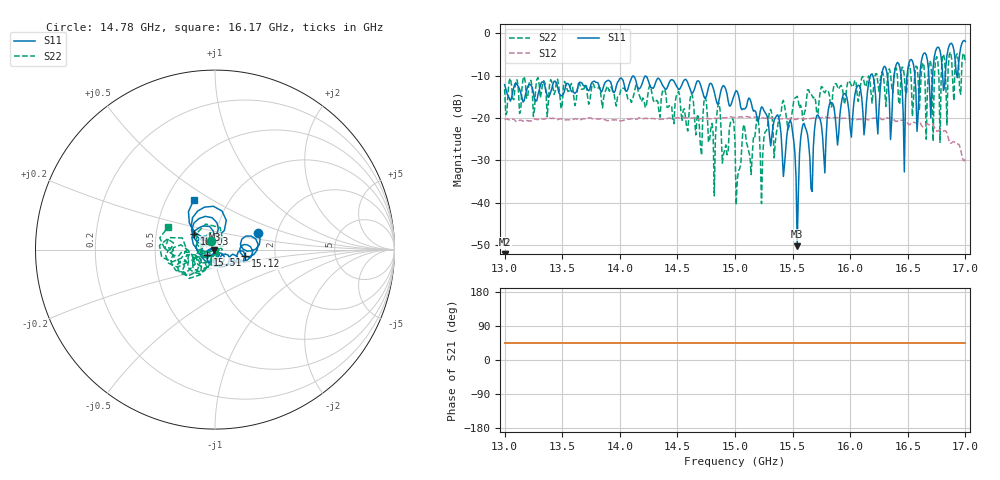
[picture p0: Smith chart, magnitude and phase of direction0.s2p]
!Keysight Technologies,P9374A,MY57211810,A.19.30.04
!Date: Friday, May 02, 2025 08:56:04
!Correction: S11(Off)
!S21(Off)
!S12(Off)
!S22(Off)
!S2P File: Measurements: S11, S21, S12, S22:
# Hz S  dB  R 50
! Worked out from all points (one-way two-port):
!   401 points, 13 GHz to 17 GHz, reference 50 ohm
!   highest |S21| = - dB at 13 GHz (marker M1); lowest = - dB at 13 GHz (marker M2)
!   lowest |S11| = -50.2 dB at 15.54 GHz (marker M3), VSWR 1.01, Z = 49.7 - j0.0179 ohm
!   |S11| at or under -10 dB: start of sweep to 16.18 GHz; 16.19616 GHz to 16.27309 GHz (76.93 MHz wide, 0.474 % of centre); 16.32243 GHz to 16.38124 GHz (58.81 MHz wide, 0.36 % of centre) (the widest 3 of 8)
!   |S22| runs from -40.5 to -4.4 dB; largest |S21 - S12| = 0.1
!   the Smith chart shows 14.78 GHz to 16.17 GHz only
!   S11 on the Smith chart (normalised r, x): 14.78 GHz: 1.59, +0.31; 15.12 GHz: 1.40, -0.10; 15.51 GHz: 0.91, -0.06; 16.03 GHz: 0.78, +0.14; 16.17 GHz: 0.69, +0.41
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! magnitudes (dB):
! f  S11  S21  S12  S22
! 13 GHz  -12.1  -  -20.4  -13.1
! 13.67 GHz  -11.7  -  -20.2  -13.2
! 14.34 GHz  -10.7  -  -20.3  -18.5
! 14.78 GHz  -11.9  -  -20.1  -25.1
! 15 GHz  -14.1  -  -19.9  -25.6
! 15.12 GHz  -15.3  -  -19.8  -28.0
! 15.51 GHz  -25.4  -  -20.3  -15.9
! 15.54 GHz  -50.2  -  -20.2  -14.9
! 15.59 GHz  -21.5  -  -20.2  -20.6
! 15.67 GHz  -37.3  -  -20.1  -14.8
! 15.72 GHz  -19.3  -  -19.9  -19.0
! 15.77 GHz  -28.7  -  -19.7  -13.7
! 16.03 GHz  -16.8  -  -20.4  -12.1
! 16.17 GHz  -10.5  -  -20.3  -10.8
! 16.34 GHz  -16.0  -  -20.1  -8.4
! 16.41 GHz  -6.9  -  -20.7  -10.2
! 16.47 GHz  -32.7  -  -20.4  -10.1
! 16.52 GHz  -6.3  -  -21.5  -7.8
! 16.58 GHz  -23.1  -  -21.0  -7.9
! 16.64 GHz  -4.7  -  -22.0  -7.6
! 16.7 GHz  -19.9  -  -21.5  -7.0
! 17 GHz  -1.9  -  -29.8  -7.0
